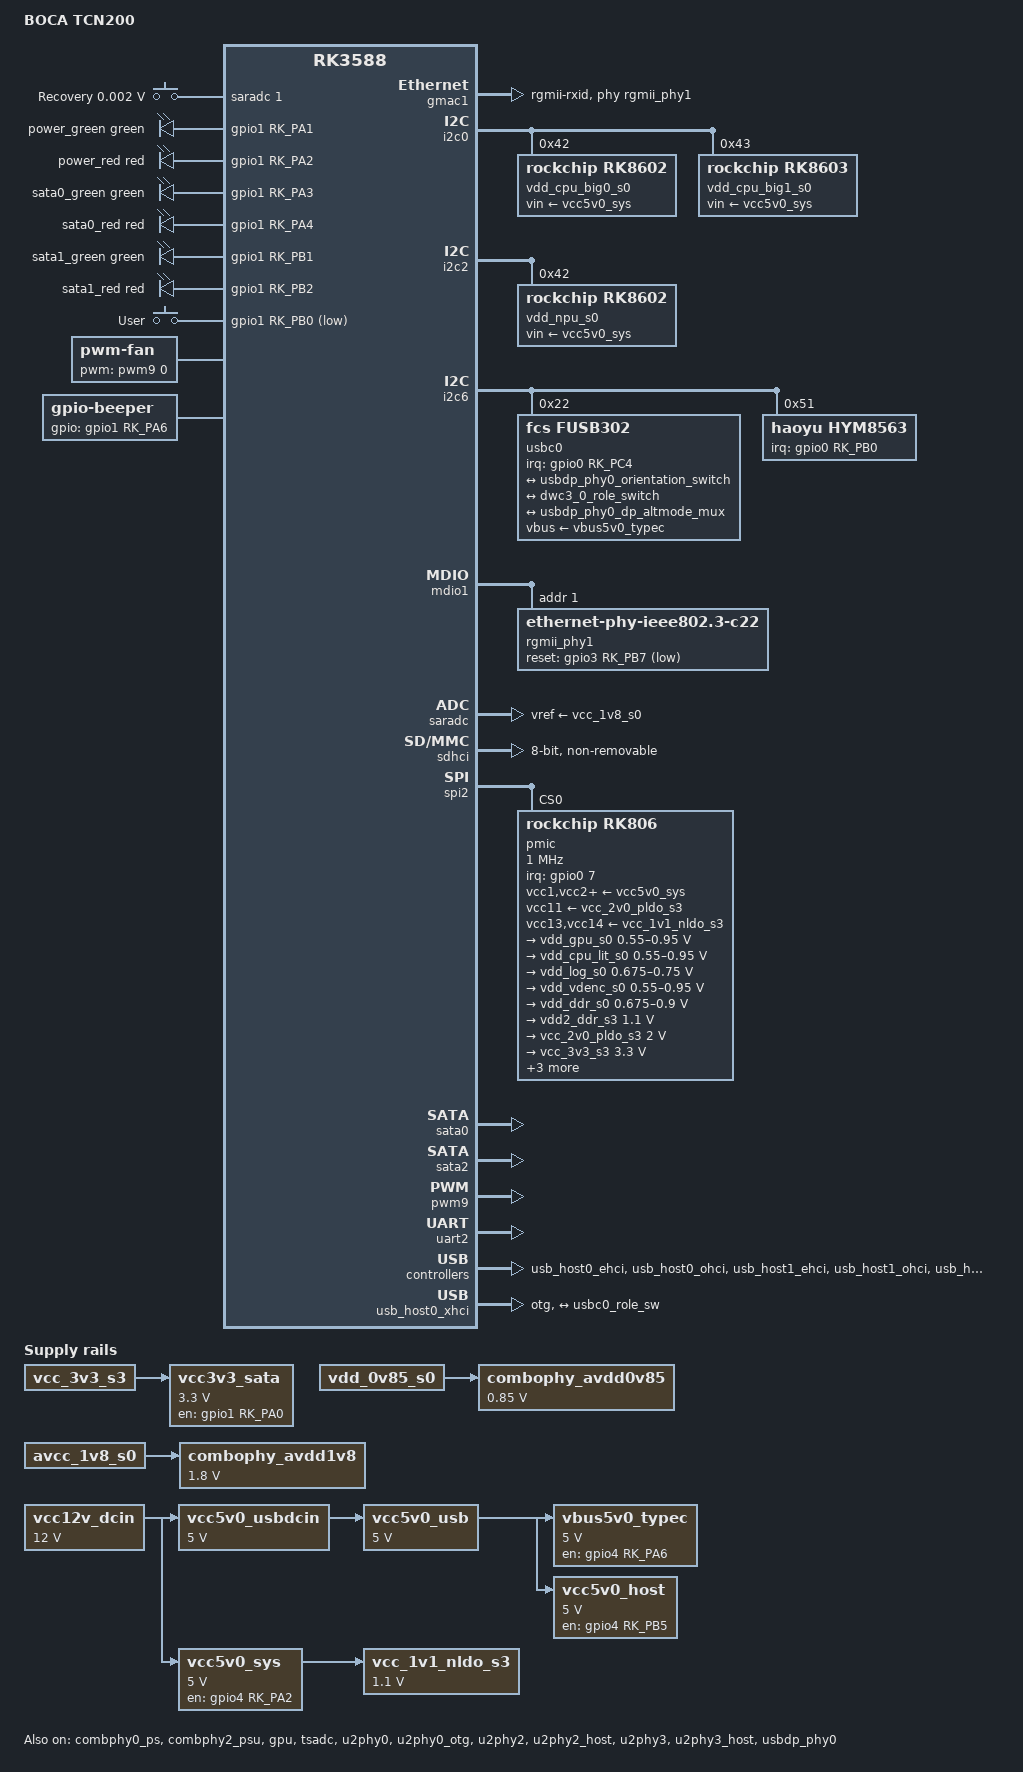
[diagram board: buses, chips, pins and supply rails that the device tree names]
// SPDX-License-Identifier: (GPL-2.0+ OR MIT)

/dts-v1/;

#include <dt-bindings/gpio/gpio.h>
#include <dt-bindings/leds/common.h>
#include <dt-bindings/input/input.h>
#include <dt-bindings/pinctrl/rockchip.h>
#include <dt-bindings/usb/pd.h>
#include "rk3588s.dtsi"

/ {
	model = "BOCA TCN200";
	compatible = "boca,tcn200", "rockchip,rk3588-evb1-v10", "rockchip,rk3588";

	aliases {
		ethernet0 = &gmac1;
		mmc0 = &sdhci;
	};

	chosen {
		stdout-path = "serial2:1500000n8";
	};

	adc-keys {
		compatible = "adc-keys";
		io-channels = <&saradc 1>;
		io-channel-names = "buttons";
		keyup-threshold-microvolt = <1800000>;
		poll-interval = <100>;

		button-recovery {
			label = "Recovery";
			linux,code = <KEY_VENDOR>;
			press-threshold-microvolt = <1800>;
		};
	};

	leds {
		compatible = "gpio-leds";
		pinctrl-names = "default";
		pinctrl-0 = <&power_green_gpio>, <&power_red_gpio>, <&sata0_green_gpio>,
					<&sata0_red_gpio>, <&sata1_green_gpio>, <&sata1_red_gpio>;

		power-green {
			color = <LED_COLOR_ID_GREEN>;
			pinctrl-names = "default";
			gpios = <&gpio1 RK_PA1 GPIO_ACTIVE_HIGH>; // bsp
			label = "power_green";
			linux,default-trigger = "heartbeat";
		};

		power-red {
			color = <LED_COLOR_ID_RED>;
			pinctrl-names = "default";
			gpios = <&gpio1 RK_PA2 GPIO_ACTIVE_HIGH>; // bsp
			label = "power_red";
			panic-indicator;
		};

		sata0-green {
			color = <LED_COLOR_ID_GREEN>;
			pinctrl-names = "default";
			gpios = <&gpio1 RK_PA3 GPIO_ACTIVE_HIGH>; // bsp
			label = "sata0_green";
		};

		sata0-red {
			color = <LED_COLOR_ID_RED>;
			pinctrl-names = "default";
			gpios = <&gpio1 RK_PA4 GPIO_ACTIVE_HIGH>; // bsp
			label = "sata0_red";
		};

		sata1-green {
			color = <LED_COLOR_ID_GREEN>;
			pinctrl-names = "default";
			gpios = <&gpio1 RK_PB1 GPIO_ACTIVE_HIGH>; // bsp
			label = "sata1_green";
		};

		sata1-red {
			color = <LED_COLOR_ID_RED>;
			pinctrl-names = "default";
			gpios = <&gpio1 RK_PB2 GPIO_ACTIVE_HIGH>; // bsp
			label = "sata1_red";
		};
	};

	gpio_keys: gpio-keys {
		compatible = "gpio-keys";
		pinctrl-0 = <&user_pin>;
		pinctrl-names = "default";

		user-pin {
			gpios = <&gpio1 RK_PB0 GPIO_ACTIVE_LOW>;
			label = "User";
			linux,code = <BTN_1>;
		};
	};

	fan: pwm-fan {
		compatible = "pwm-fan";
		cooling-levels = <0 90 160 200 255>;
		pwms = <&pwm9 0 50000 0>; // bsp
		#cooling-cells = <2>;
	};

	beep {
		compatible = "gpio-beeper";
		pinctrl-0 = <&beeper_gpio>;
		gpios = <&gpio1 RK_PA6 GPIO_ACTIVE_HIGH>; // bsp
	};

	vcc12v_dcin: vcc12v-dcin {
		compatible = "regulator-fixed";
		regulator-name = "vcc12v_dcin";
		regulator-always-on;
		regulator-boot-on;
		regulator-min-microvolt = <12000000>;
		regulator-max-microvolt = <12000000>;
	};

	vcc5v0_usbdcin: vcc5v0-usbdcin {
		compatible = "regulator-fixed";
		regulator-name = "vcc5v0_usbdcin";
		regulator-always-on;
		regulator-boot-on;
		regulator-min-microvolt = <5000000>;
		regulator-max-microvolt = <5000000>;
		vin-supply = <&vcc12v_dcin>;
	};

	vcc5v0_usb: vcc5v0-usb {
		compatible = "regulator-fixed";
		regulator-name = "vcc5v0_usb";
		regulator-always-on;
		regulator-boot-on;
		regulator-min-microvolt = <5000000>;
		regulator-max-microvolt = <5000000>;
		vin-supply = <&vcc5v0_usbdcin>;
	};


	vcc5v0_sys: vcc5v0-sys-regulator {
		compatible = "regulator-fixed";
		regulator-name = "vcc5v0_sys";
		regulator-always-on;
		regulator-boot-on;
		enable-active-high;
		gpios = <&gpio4 RK_PA2 GPIO_ACTIVE_HIGH>;
		pinctrl-names = "default";
		pinctrl-0 = <&vcc5v0_sys_gpio>;
		regulator-min-microvolt = <5000000>;
		regulator-max-microvolt = <5000000>;
		vin-supply = <&vcc12v_dcin>;
	};

	vbus5v0_typec: vbus-typec-regulator {
		compatible = "regulator-fixed";
		regulator-boot-on;
		regulator-always-on;
		enable-active-high;
		gpio = <&gpio4 RK_PA6 GPIO_ACTIVE_HIGH>; // bsp
		pinctrl-names = "default";
		pinctrl-0 = <&typec5v_pwren>;
		regulator-name = "vbus5v0_typec";
		regulator-min-microvolt = <5000000>;
		regulator-max-microvolt = <5000000>;
		vin-supply = <&vcc5v0_usb>;
	};

	vcc5v0_host: vcc5v0-host {
		compatible = "regulator-fixed";
		regulator-name = "vcc5v0_host";
		regulator-boot-on;
		regulator-always-on;
		regulator-min-microvolt = <5000000>;
		regulator-max-microvolt = <5000000>;
		enable-active-high;
		gpio = <&gpio4 RK_PB5 GPIO_ACTIVE_HIGH>; // bsp
		vin-supply = <&vcc5v0_usb>;
		pinctrl-names = "default";
		pinctrl-0 = <&vcc5v0_host_en>;
	};

	vcc3v3_sata: vcc3v3-sata-regulator {
		compatible = "regulator-fixed";
		enable-active-high;
		regulator-boot-on;
		regulator-always-on;
		startup-delay-us = <5000>;
		gpios = <&gpio1 RK_PA0 GPIO_ACTIVE_HIGH>; // bsp
		regulator-name = "vcc3v3_sata";
		regulator-min-microvolt = <3300000>;
		regulator-max-microvolt = <3300000>;
		vin-supply = <&vcc_3v3_s3>;
	};

	vcc_1v1_nldo_s3: vcc-1v1-nldo-s3-regulator {
		compatible = "regulator-fixed";
		regulator-name = "vcc_1v1_nldo_s3";
		regulator-always-on;
		regulator-boot-on;
		regulator-min-microvolt = <1100000>;
		regulator-max-microvolt = <1100000>;
		vin-supply = <&vcc5v0_sys>;
	};

	combophy-avdd0v85 {
		compatible = "regulator-fixed";
		regulator-name = "combophy_avdd0v85";
		regulator-boot-on;
		regulator-always-on;
		regulator-min-microvolt = <850000>;
		regulator-max-microvolt = <850000>;
		vin-supply = <&vdd_0v85_s0>;
	};

	combophy-avdd1v8 {
		compatible = "regulator-fixed";
		regulator-name = "combophy_avdd1v8";
		regulator-boot-on;
		regulator-always-on;
		regulator-min-microvolt = <1800000>;
		regulator-max-microvolt = <1800000>;
		vin-supply = <&avcc_1v8_s0>;
	};
};

&combphy0_ps {
	status = "okay";
};

&combphy2_psu {
	status = "okay";
};

&cpu_b0 {
	cpu-supply = <&vdd_cpu_big0_s0>;
};

&cpu_b1 {
	cpu-supply = <&vdd_cpu_big0_s0>;
};

&cpu_b2 {
	cpu-supply = <&vdd_cpu_big1_s0>;
};

&cpu_b3 {
	cpu-supply = <&vdd_cpu_big1_s0>;
};

&cpu_l0 {
	cpu-supply = <&vdd_cpu_lit_s0>;
};

&cpu_l1 {
	cpu-supply = <&vdd_cpu_lit_s0>;
};

&cpu_l2 {
	cpu-supply = <&vdd_cpu_lit_s0>;
};

&cpu_l3 {
	cpu-supply = <&vdd_cpu_lit_s0>;
};

&package_thermal {
	polling-delay = <1000>;

	trips {
		package_fan0: package-fan0 {
			temperature = <55000>;
			hysteresis = <2000>;
			type = "active";
		};

		package_fan1: package-fan1 {
			temperature = <65000>;
			hysteresis = <2000>;
			type = "active";
		};
	};

	cooling-maps {
		map0 {
			trip = <&package_fan0>;
			cooling-device = <&fan THERMAL_NO_LIMIT 1>;
		};

		map1 {
			trip = <&package_fan1>;
			cooling-device = <&fan 2 THERMAL_NO_LIMIT>;
		};
	};
};

&gmac1 {
	clock_in_out = "output";
	phy-handle = <&rgmii_phy1>;
	phy-mode = "rgmii-rxid";
	pinctrl-0 = <&gmac1_miim
				 &gmac1_tx_bus2
				 &gmac1_rx_bus2
				 &gmac1_rgmii_clk
				 &gmac1_rgmii_bus>;
	pinctrl-names = "default";
	tx_delay = <0x43>;
	status = "okay";
};

&gpu {
	mali-supply = <&vdd_gpu_s0>;
	status = "okay";
};

&i2c0 {
	pinctrl-names = "default";
	pinctrl-0 = <&i2c0m2_xfer>;
	status = "okay";

	vdd_cpu_big0_s0: regulator@42 {
		compatible = "rockchip,rk8602";
		reg = <0x42>;
		fcs,suspend-voltage-selector = <1>;
		regulator-name = "vdd_cpu_big0_s0";
		regulator-always-on;
		regulator-boot-on;
		regulator-min-microvolt = <550000>;
		regulator-max-microvolt = <1050000>;
		regulator-ramp-delay = <2300>;
		vin-supply = <&vcc5v0_sys>;

		regulator-state-mem {
			regulator-off-in-suspend;
		};
	};

	vdd_cpu_big1_s0: regulator@43 {
		compatible = "rockchip,rk8603", "rockchip,rk8602";
		reg = <0x43>;
		fcs,suspend-voltage-selector = <1>;
		regulator-name = "vdd_cpu_big1_s0";
		regulator-always-on;
		regulator-boot-on;
		regulator-min-microvolt = <550000>;
		regulator-max-microvolt = <1050000>;
		regulator-ramp-delay = <2300>;
		vin-supply = <&vcc5v0_sys>;

		regulator-state-mem {
			regulator-off-in-suspend;
		};
	};
};

&i2c2 {
	status = "okay";

	vdd_npu_s0: regulator@42 {
		compatible = "rockchip,rk8602";
		reg = <0x42>;
		fcs,suspend-voltage-selector = <1>;
		regulator-name = "vdd_npu_s0";
		regulator-always-on;
		regulator-boot-on;
		regulator-min-microvolt = <550000>;
		regulator-max-microvolt = <950000>;
		regulator-ramp-delay = <2300>;
		vin-supply = <&vcc5v0_sys>;

		regulator-state-mem {
			regulator-off-in-suspend;
		};
	};
};

&i2c6 {
	pinctrl-names = "default";
	pinctrl-0 = <&i2c6m3_xfer>;
	status = "okay";

	usbc0: usb-typec@22 {
		compatible = "fcs,fusb302";
		reg = <0x22>;
		interrupt-parent = <&gpio0>; // bsp
		interrupts = <RK_PC4 IRQ_TYPE_LEVEL_LOW>; // bsp
		pinctrl-names = "default";
		pinctrl-0 = <&usbc0_int>; // bsp
		vbus-supply = <&vbus5v0_typec>; // bsp
		status = "okay";

		usb_con: connector {
			compatible = "usb-c-connector";
			label = "USB-C";
			data-role = "dual";
			op-sink-microwatt = <1000000>;
			power-role = "dual";
			sink-pdos = <PDO_FIXED(5000, 1000, PDO_FIXED_USB_COMM)>;
			source-pdos = <PDO_FIXED(5000, 3000, PDO_FIXED_USB_COMM)>;
			try-power-role = "source";

			ports {
				#address-cells = <1>;
				#size-cells = <0>;

				port@0 {
					reg = <0>;

					usbc0_orien_sw: endpoint {
						remote-endpoint = <&usbdp_phy0_orientation_switch>;
					};
				};

				port@1 {
					reg = <1>;

					usbc0_role_sw: endpoint {
						remote-endpoint = <&dwc3_0_role_switch>;
					};
				};

				port@2 {
					reg = <2>;

					dp_altmode_mux: endpoint {
						remote-endpoint = <&usbdp_phy0_dp_altmode_mux>;
					};
				};
			};
		};
	};

	hym8563: rtc@51 {
		compatible = "haoyu,hym8563";
		reg = <0x51>;
		#clock-cells = <0>;
		clock-output-names = "hym8563";
		pinctrl-names = "default";
		pinctrl-0 = <&hym8563_int>;
		interrupt-parent = <&gpio0>; // bsp
		interrupts = <RK_PB0 IRQ_TYPE_LEVEL_LOW>; // bsp
		wakeup-source;
	};
};

&mdio1 {
	rgmii_phy1: ethernet-phy@1 {
		compatible = "ethernet-phy-ieee802.3-c22";
		reg = <0x1>;
		reset-assert-us = <20000>;
		reset-deassert-us = <100000>;
		reset-gpios = <&gpio3 RK_PB7 GPIO_ACTIVE_LOW>; // bsp
	};
};

&pinctrl {
	gpio-leds {
		power_green_gpio: power-green-gpio {
			rockchip,pins = <1 RK_PA1 RK_FUNC_GPIO &pcfg_pull_none>; // bsp
		};
		power_red_gpio: power-red-gpio {
			rockchip,pins = <1 RK_PA2 RK_FUNC_GPIO &pcfg_pull_none>; // bsp
		};
		sata0_green_gpio: sata0-green-gpio {
			rockchip,pins = <1 RK_PA3 RK_FUNC_GPIO &pcfg_pull_none>; // bsp
		};
		sata0_red_gpio: sata0-red-gpio {
			rockchip,pins = <1 RK_PA4 RK_FUNC_GPIO &pcfg_pull_none>; // bsp
		};
		sata1_green_gpio: sata1_green-gpio {
			rockchip,pins = <1 RK_PB1 RK_FUNC_GPIO &pcfg_pull_none>; // bsp
		};
		sata1_red_gpio: sata1_red-gpio {
			rockchip,pins = <1 RK_PB2 RK_FUNC_GPIO &pcfg_pull_none>; // bsp
		};
	};

	gpio-keys {
		user_pin: user-pins {
			rockchip,pins = <1 RK_PB0 RK_FUNC_GPIO &pcfg_pull_up>; // bsp
		};
	};

	beep {
		beeper_gpio: beeper-gpio {
			rockchip,pins = <1 RK_PA6 RK_FUNC_GPIO &pcfg_pull_none>; // bsp
		};
	};

	power {
		vcc5v0_sys_gpio: vcc5v0-sys-gpio {
			rockchip,pins = <4 RK_PA2 RK_FUNC_GPIO &pcfg_pull_none>; // bsp
		};
	};

	hym8563 {
		hym8563_int: hym8563-int {
			rockchip,pins = <0 RK_PB0 RK_FUNC_GPIO &pcfg_pull_none>; // bsp
		};
	};

	usb-typec {
		usbc0_int: usbc0-int {
			rockchip,pins = <0 RK_PC4 RK_FUNC_GPIO &pcfg_pull_up>; // bsp
		};

		typec5v_pwren: typec5v-pwren {
			rockchip,pins = <4 RK_PA6 RK_FUNC_GPIO &pcfg_pull_none>; // bsp
		};
	};

	usb {
		vcc5v0_host_en: vcc5v0-host-en {
			rockchip,pins = <4 RK_PB5 RK_FUNC_GPIO &pcfg_pull_none>; // bsp
		};
	};
};

&saradc {
	vref-supply = <&vcc_1v8_s0>;
	status = "okay";
};

&sdhci {
	bus-width = <8>;
	no-sdio;
	no-sd;
	non-removable;
	mmc-hs400-1_8v;
	mmc-hs400-enhanced-strobe;
	status = "okay";
};

&spi2 {
	status = "okay";
	assigned-clocks = <&cru CLK_SPI2>;
	assigned-clock-rates = <200000000>;
	num-cs = <1>;
	pinctrl-names = "default";
	pinctrl-0 = <&spi2m2_cs0 &spi2m2_pins>;

	pmic@0 {
		compatible = "rockchip,rk806";
		reg = <0x0>;
		interrupt-parent = <&gpio0>;
		interrupts = <7 IRQ_TYPE_LEVEL_LOW>;
		pinctrl-names = "default";
		pinctrl-0 = <&pmic_pins>, <&rk806_dvs1_null>,
				<&rk806_dvs2_null>, <&rk806_dvs3_null>;
		spi-max-frequency = <1000000>;
		system-power-controller;

		vcc1-supply = <&vcc5v0_sys>;
		vcc2-supply = <&vcc5v0_sys>;
		vcc3-supply = <&vcc5v0_sys>;
		vcc4-supply = <&vcc5v0_sys>;
		vcc5-supply = <&vcc5v0_sys>;
		vcc6-supply = <&vcc5v0_sys>;
		vcc7-supply = <&vcc5v0_sys>;
		vcc8-supply = <&vcc5v0_sys>;
		vcc9-supply = <&vcc5v0_sys>;
		vcc10-supply = <&vcc5v0_sys>;
		vcc11-supply = <&vcc_2v0_pldo_s3>;
		vcc12-supply = <&vcc5v0_sys>;
		vcc13-supply = <&vcc_1v1_nldo_s3>;
		vcc14-supply = <&vcc_1v1_nldo_s3>;
		vcca-supply = <&vcc5v0_sys>;

		gpio-controller;
		#gpio-cells = <2>;

		rk806_dvs1_null: dvs1-null-pins {
			pins = "gpio_pwrctrl1";
			function = "pin_fun0";
		};

		rk806_dvs2_null: dvs2-null-pins {
			pins = "gpio_pwrctrl2";
			function = "pin_fun0";
		};

		rk806_dvs3_null: dvs3-null-pins {
			pins = "gpio_pwrctrl3";
			function = "pin_fun0";
		};

		regulators {
			vdd_gpu_s0: dcdc-reg1 {
				regulator-name = "vdd_gpu_s0";
				regulator-boot-on;
				regulator-min-microvolt = <550000>;
				regulator-max-microvolt = <950000>;
				regulator-ramp-delay = <12500>;
				regulator-enable-ramp-delay = <400>;

				regulator-state-mem {
					regulator-off-in-suspend;
				};
			};

			vdd_cpu_lit_s0: dcdc-reg2 {
				regulator-name = "vdd_cpu_lit_s0";
				regulator-always-on;
				regulator-boot-on;
				regulator-min-microvolt = <550000>;
				regulator-max-microvolt = <950000>;
				regulator-ramp-delay = <12500>;

				regulator-state-mem {
					regulator-off-in-suspend;
				};
			};

			vdd_log_s0: dcdc-reg3 {
				regulator-name = "vdd_log_s0";
				regulator-always-on;
				regulator-boot-on;
				regulator-min-microvolt = <675000>;
				regulator-max-microvolt = <750000>;
				regulator-ramp-delay = <12500>;

				regulator-state-mem {
					regulator-off-in-suspend;
					regulator-suspend-microvolt = <750000>;
				};
			};

			vdd_vdenc_s0: dcdc-reg4 {
				regulator-name = "vdd_vdenc_s0";
				regulator-always-on;
				regulator-boot-on;
				regulator-min-microvolt = <550000>;
				regulator-max-microvolt = <950000>;
				regulator-ramp-delay = <12500>;

				regulator-state-mem {
					regulator-off-in-suspend;
				};
			};

			vdd_ddr_s0: dcdc-reg5 {
				regulator-name = "vdd_ddr_s0";
				regulator-always-on;
				regulator-boot-on;
				regulator-min-microvolt = <675000>;
				regulator-max-microvolt = <900000>;
				regulator-ramp-delay = <12500>;

				regulator-state-mem {
					regulator-off-in-suspend;
					regulator-suspend-microvolt = <850000>;
				};
			};

			vdd2_ddr_s3: dcdc-reg6 {
				regulator-name = "vdd2_ddr_s3";
				regulator-always-on;
				regulator-boot-on;
				regulator-max-microvolt = <1100000>;
				regulator-min-microvolt = <1100000>;

				regulator-state-mem {
					regulator-on-in-suspend;
				};
			};

			vcc_2v0_pldo_s3: dcdc-reg7 {
				regulator-name = "vdd_2v0_pldo_s3";
				regulator-always-on;
				regulator-boot-on;
				regulator-min-microvolt = <2000000>;
				regulator-max-microvolt = <2000000>;
				regulator-ramp-delay = <12500>;

				regulator-state-mem {
					regulator-on-in-suspend;
					regulator-suspend-microvolt = <2000000>;
				};
			};

			vcc_3v3_s3: dcdc-reg8 {
				regulator-name = "vcc_3v3_s3";
				regulator-always-on;
				regulator-boot-on;
				regulator-min-microvolt = <3300000>;
				regulator-max-microvolt = <3300000>;

				regulator-state-mem {
					regulator-on-in-suspend;
					regulator-suspend-microvolt = <3300000>;
				};
			};

			vddq_ddr_s0: dcdc-reg9 {
				regulator-name = "vddq_ddr_s0";
				regulator-always-on;
				regulator-boot-on;

				regulator-state-mem {
					regulator-off-in-suspend;
				};
			};

			vcc_1v8_s3: dcdc-reg10 {
				regulator-name = "vcc_1v8_s3";
				regulator-always-on;
				regulator-boot-on;
				regulator-min-microvolt = <1800000>;
				regulator-max-microvolt = <1800000>;

				regulator-state-mem {
					regulator-on-in-suspend;
					regulator-suspend-microvolt = <1800000>;
				};
			};

			avcc_1v8_s0: pldo-reg1 {
				regulator-name = "avcc_1v8_s0";
				regulator-always-on;
				regulator-boot-on;
				regulator-min-microvolt = <1800000>;
				regulator-max-microvolt = <1800000>;

				regulator-state-mem {
					regulator-off-in-suspend;
				};
			};

			vcc_1v8_s0: pldo-reg2 {
				regulator-name = "vcc_1v8_s0";
				regulator-always-on;
				regulator-boot-on;
				regulator-min-microvolt = <1800000>;
				regulator-max-microvolt = <1800000>;

				regulator-state-mem {
					regulator-off-in-suspend;
					regulator-suspend-microvolt = <1800000>;
				};
			};

			avdd_1v2_s0: pldo-reg3 {
				regulator-name = "avdd_1v2_s0";
				regulator-always-on;
				regulator-boot-on;
				regulator-min-microvolt = <1200000>;
				regulator-max-microvolt = <1200000>;

				regulator-state-mem {
					regulator-off-in-suspend;
				};
			};

			vcc_3v3_s0: pldo-reg4 {
				regulator-name = "vcc_3v3_s0";
				regulator-always-on;
				regulator-boot-on;
				regulator-min-microvolt = <3300000>;
				regulator-max-microvolt = <3300000>;
				regulator-ramp-delay = <12500>;

				regulator-state-mem {
					regulator-off-in-suspend;
				};
			};

			vccio_sd_s0: pldo-reg5 {
				regulator-name = "vccio_sd_s0";
				regulator-always-on;
				regulator-boot-on;
				regulator-min-microvolt = <1800000>;
				regulator-max-microvolt = <3300000>;
				regulator-ramp-delay = <12500>;

				regulator-state-mem {
					regulator-off-in-suspend;
				};
			};

			pldo6_s3: pldo-reg6 {
				regulator-name = "pldo6_s3";
				regulator-always-on;
				regulator-boot-on;
				regulator-min-microvolt = <1800000>;
				regulator-max-microvolt = <1800000>;

				regulator-state-mem {
					regulator-on-in-suspend;
					regulator-suspend-microvolt = <1800000>;
				};
			};

			vdd_0v75_s3: nldo-reg1 {
				regulator-name = "vdd_0v75_s3";
				regulator-always-on;
				regulator-boot-on;
				regulator-min-microvolt = <750000>;
				regulator-max-microvolt = <750000>;

				regulator-state-mem {
					regulator-on-in-suspend;
					regulator-suspend-microvolt = <750000>;
				};
			};

			vdd_ddr_pll_s0: nldo-reg2 {
				regulator-name = "vdd_ddr_pll_s0";
				regulator-always-on;
				regulator-boot-on;
				regulator-min-microvolt = <850000>;
				regulator-max-microvolt = <850000>;

				regulator-state-mem {
					regulator-off-in-suspend;
					regulator-suspend-microvolt = <850000>;
				};
			};

			avdd_0v75_s0: nldo-reg3 {
				regulator-name = "avdd_0v75_s0";
				regulator-always-on;
				regulator-boot-on;
				regulator-min-microvolt = <750000>;
				regulator-max-microvolt = <750000>;

				regulator-state-mem {
					regulator-off-in-suspend;
				};
			};

			vdd_0v85_s0: nldo-reg4 {
				regulator-name = "vdd_0v85_s0";
				regulator-always-on;
				regulator-boot-on;
				regulator-min-microvolt = <850000>;
				regulator-max-microvolt = <850000>;

				regulator-state-mem {
					regulator-off-in-suspend;
				};
			};

			vdd_0v75_s0: nldo-reg5 {
				regulator-name = "vdd_0v75_s0";
				regulator-always-on;
				regulator-boot-on;
				regulator-min-microvolt = <750000>;
				regulator-max-microvolt = <750000>;

				regulator-state-mem {
					regulator-off-in-suspend;
				};
			};
		};
	};
};

&sata0 {
	status = "okay";
};

&sata2 {
	status = "okay";
};

// FAN
&pwm9 {
	status = "okay";
	pinctrl-names = "default";
	pinctrl-0 = <&pwm9m2_pins>;
};

&tsadc {
	status = "okay";
};

&u2phy0 {
	status = "okay";
};

&u2phy0_otg {
	status = "okay";
};

&u2phy2 {
	status = "okay";
};

&u2phy2_host {
	status = "okay";
};

&u2phy3 {
	status = "okay";
};

&u2phy3_host {
	status = "okay";
};

// Debug TTL
&uart2 {
	pinctrl-0 = <&uart2m0_xfer>;
	status = "okay";
};

&usbdp_phy0 {
	mode-switch;
	orientation-switch;
	sbu1-dc-gpios = <&gpio4 RK_PA0 GPIO_ACTIVE_HIGH>; // bsp
	sbu2-dc-gpios = <&gpio4 RK_PA1 GPIO_ACTIVE_HIGH>; // bsp
	status = "okay";

	port {
		#address-cells = <1>;
		#size-cells = <0>;

		usbdp_phy0_orientation_switch: endpoint@0 {
			reg = <0>;
			remote-endpoint = <&usbc0_orien_sw>;
		};

		usbdp_phy0_dp_altmode_mux: endpoint@1 {
			reg = <1>;
			remote-endpoint = <&dp_altmode_mux>;
		};
	};
};

&usb_host0_ehci {
	status = "okay";
};

&usb_host0_ohci {
	status = "okay";
};

&usb_host0_xhci {
	dr_mode = "otg";
	usb-role-switch;
	status = "okay";

	port {
		#address-cells = <1>;
		#size-cells = <0>;

		dwc3_0_role_switch: endpoint@0 {
			reg = <0>;
			remote-endpoint = <&usbc0_role_sw>;
		};
	};
};

&usb_host1_ehci {
	status = "okay";
};

&usb_host1_ohci {
	status = "okay";
};

&usb_host2_xhci {
	status = "okay";
};
